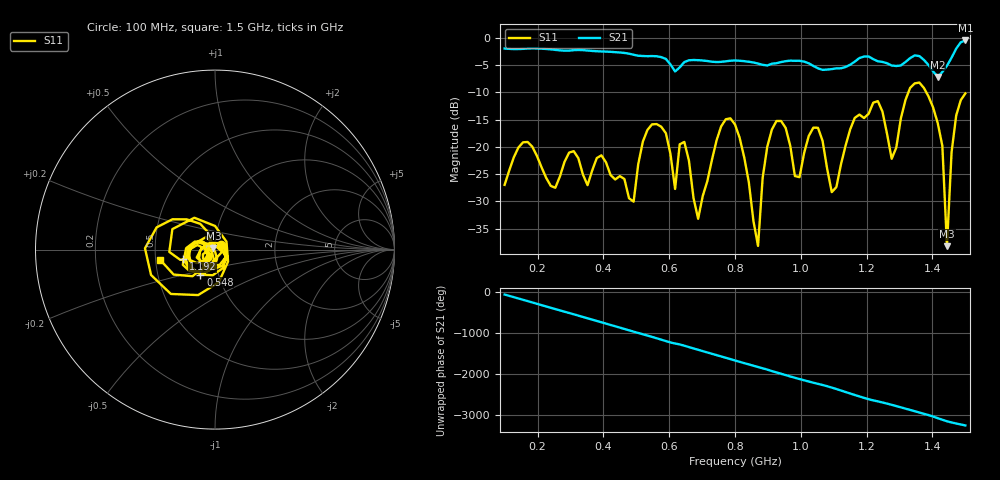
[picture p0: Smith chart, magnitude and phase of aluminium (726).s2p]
! NanoVNA-App
! Date: 2025-09-25 15:00:56
! Start: 100MHz Stop: 1,5GHz Points: 101
! S-Parameter data: F S11 S21 S12 S22
# Hz S RI R 50
!  Frequency  S11_Real  S11_Imag  S21_Real  S21_Imag  S12_Real  S12_Imag  S22_Real  S22_Imag
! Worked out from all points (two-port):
!   101 points, 100 MHz to 1.5 GHz, reference 50 ohm
!   highest |S21| = -0.44 dB at 1.5 GHz (marker M1); lowest = -7.1 dB at 1.416 GHz (marker M2)
!   |S21| within 3 dB of the highest: start of sweep to 570.7 MHz; 1.459 GHz to end of sweep (the widest 2 of 4)
!   lowest |S11| = -38.2 dB at 1.444 GHz (marker M3), VSWR 1.02, Z = 49.1 + j0.869 ohm
!   |S11| at or under -10 dB: start of sweep to 1.327 GHz; 1.381 GHz to end of sweep
!   S12 and S22 are empty: the file has one direction only
!   S11 on the Smith chart (normalised r, x): 100 MHz: 1.07, +0.06; 548 MHz: 0.82, -0.24; 1.192 GHz: 0.70, -0.08; 1.5 GHz: 0.53, -0.07
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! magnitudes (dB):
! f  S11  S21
! 100 MHz  -27.0  -1.9
! 156 MHz  -19.2  -2.0
! 338 MHz  -25.1  -2.2
! 492 MHz  -30.0  -3.1
! 548 MHz  -15.8  -3.3
! 576 MHz  -16.3  -3.5
! 618 MHz  -27.7  -6.1
! 646 MHz  -19.1  -4.4
! 688 MHz  -33.2  -4.1
! 800 MHz  -15.9  -4.1
! 870 MHz  -38.2  -4.7
! 912 MHz  -16.8  -4.7
! 996 MHz  -25.5  -4.2
! 1.038 GHz  -16.5  -5.1
! 1.094 GHz  -28.3  -5.7
! 1.192 GHz  -14.7  -3.4
! 1.276 GHz  -22.2  -5.0
! 1.346 GHz  -8.3  -3.2
! 1.416 GHz  -15.6  -7.1
! 1.444 GHz  -38.2  -5.1
! 1.458 GHz  -21.0  -3.6
! 1.5 GHz  -10.2  -0.4
